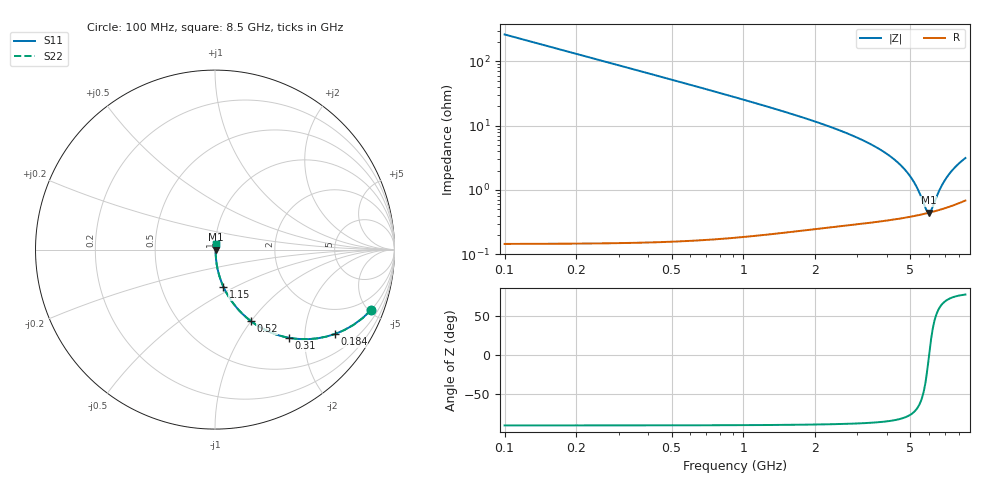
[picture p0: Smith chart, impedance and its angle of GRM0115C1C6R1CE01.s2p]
!Murata Part Number: GRM0115C1C6R1CE01
!These Parameters are Measured in Series Mode Connection
!Data Generated on Mar 30, 2021
!  o--ll--o
!Port1  Port2
!  o------o
!Operation Temp=25[degC], DC Bias Voltage=0[V]
!Freq. Start=100[MHz] Stop=9[GHz] 401[Steps]
# Hz S RI R 50
!Freq.(Hz) S11(Real) S11(Imag) S21(Real) S21(Imag) S12(Real) S12(Imag) S22(Real) S22(Imag)
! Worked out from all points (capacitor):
!   401 points, 100 MHz to 8.5 GHz, reference 50 ohm
!   read as one part in series: C = 6.1 pF near 142 MHz
!   lowest |Z| = 442 mohm at 5.98 GHz (marker M1)
!   series resonance near 5.989 GHz, so ESL is about 120 pH
!   S11 on the Smith chart (normalised r, x): 100 MHz: 1.00, -5.22; 184 MHz: 1.00, -2.83; 310 MHz: 1.00, -1.68; 520 MHz: 1.00, -1.00; 1.15 GHz: 1.00, -0.44; 8.5 GHz: 1.01, +0.06
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1e8  0.8717 -0.3341  0.1283 0.3341  0.1283 0.3341  0.8717 -0.3341
1.84e8  0.6672 -0.4707  0.3328 0.4707  0.3328 0.4707  0.6672 -0.4707
2.47e8  0.5264 -0.4986  0.4736 0.4986  0.4736 0.4986  0.5264 -0.4986
3.1e8  0.4134 -0.4915  0.5866 0.4915  0.5866 0.4915  0.4134 -0.4915
4.15e8  0.2816 -0.4486  0.7184 0.4486  0.7184 0.4486  0.2816 -0.4486
5.2e8  0.1992 -0.3978  0.8008 0.3978  0.8008 0.3978  0.1992 -0.3978
7.72e8  0.1004 -0.298  0.8996 0.298  0.8996 0.298  0.1004 -0.298
1.15e9  0.047 -0.2073  0.953 0.2073  0.953 0.2073  0.047 -0.2073
1.507e9  0.0274 -0.1568  0.9726 0.1568  0.9726 0.1568  0.0274 -0.1568
2.914e9  0.00743 -0.0672  0.9926 0.0672  0.9926 0.0672  0.00743 -0.0672
4.3e9  0.00431 -0.029  0.9957 0.029  0.9957 0.029  0.00431 -0.029
4.741e9  0.00409 -0.0202  0.9959 0.0202  0.9959 0.0202  0.00409 -0.0202
5.098e9  0.00406 -0.0139  0.9959 0.0139  0.9959 0.0139  0.00406 -0.0139
5.392e9  0.00411 -0.00903  0.9959 0.00903  0.9959 0.00903  0.00411 -0.00903
5.707e9  0.00424 -0.00414  0.9958 0.00414  0.9958 0.00414  0.00424 -0.00414
5.854e9  0.00432 -0.00196  0.9957 0.00196  0.9957 0.00196  0.00432 -0.00196
5.98e9  0.0044 -0.000135  0.9956 0.000135  0.9956 0.000135  0.0044 -0.000135
6.127e9  0.0045 0.00194  0.9955 -0.00194  0.9955 -0.00194  0.0045 0.00194
6.673e9  0.005 0.00925  0.995 -0.00925  0.995 -0.00925  0.005 0.00925
7.114e9  0.00551 0.0147  0.9945 -0.0147  0.9945 -0.0147  0.00551 0.0147
7.744e9  0.0064 0.0221  0.9936 -0.0221  0.9936 -0.0221  0.0064 0.0221
8.5e9  0.0077 0.0301  0.9923 -0.0301  0.9923 -0.0301  0.0077 0.0301
